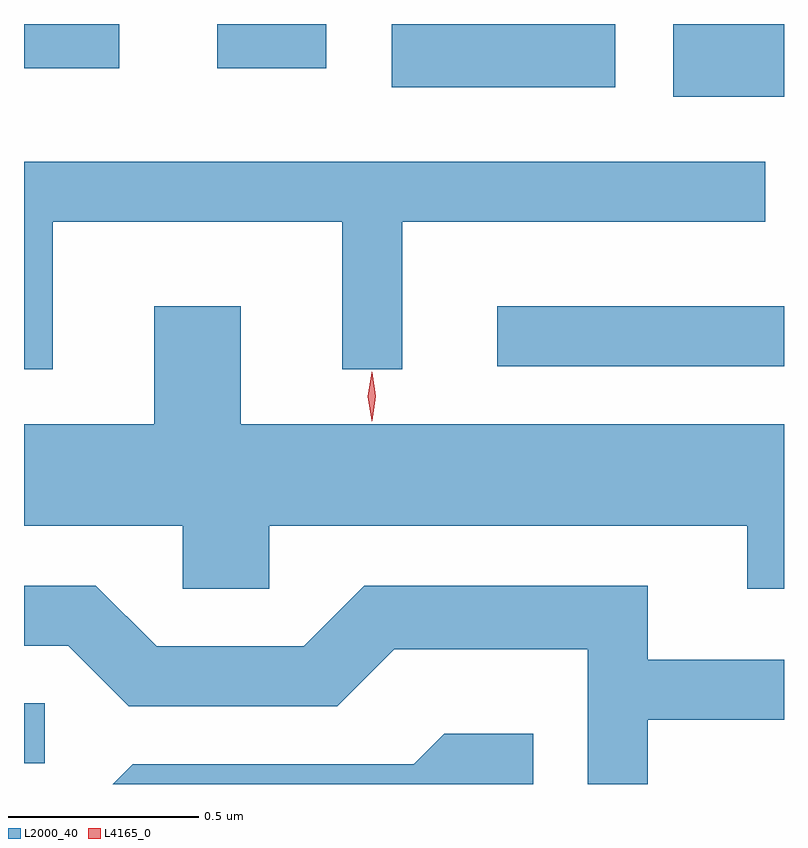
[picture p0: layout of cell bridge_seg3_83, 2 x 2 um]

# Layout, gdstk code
import gdstk
lib = gdstk.Library(unit=1e-6, precision=1e-09)
def R(c, l, rs):  # rectangles x0, y0, x1, y1
    for r in rs: c.add(gdstk.rectangle(r[:2], r[2:], *l))
def P(c, l, *ps):  # polygons
    for p in ps: c.add(gdstk.Polygon(p, *l))
L2000_40 = (2000, 40)
L4165_0 = (4165, 0)

bridge_seg3_83 = lib.new_cell('bridge_seg3_83')
R(bridge_seg3_83, L2000_40, [(1126.748,1180.891,1126.803,1181.049), (1127.993,1181.936,1128.748,1182.094), (1128.456,1182.646,1128.748,1182.837), (1127.716,1182.671,1128.304,1182.837), (1126.748,1182.721,1126.999,1182.837), (1127.256,1182.721,1127.544,1182.837)])
P(bridge_seg3_83, L2000_40, [(1126.824,1182.316),(1127.586,1182.316),(1127.586,1181.928),(1127.744,1181.928),(1127.744,1182.316),(1128.698,1182.316),(1128.698,1182.474),(1126.748,1182.474),(1126.748,1181.928),(1126.824,1181.928)],
  [(1127.394,1181.516),(1128.651,1181.516),(1128.651,1181.351),(1128.748,1181.351),(1128.748,1181.784),(1127.319,1181.784),(1127.319,1182.094),(1127.091,1182.094),(1127.091,1181.784),(1126.748,1181.784),(1126.748,1181.516),(1127.166,1181.516),(1127.166,1181.351),(1127.394,1181.351)],
  [(1128.389,1181.006),(1128.748,1181.006),(1128.748,1181.164),(1128.389,1181.164),(1128.389,1181.359),(1127.644,1181.359),(1127.484,1181.199),(1127.097,1181.199),(1126.937,1181.359),(1126.748,1181.359),(1126.748,1181.201),(1126.864,1181.201),(1127.024,1181.041),(1127.572,1181.041),(1127.722,1181.191),(1128.231,1181.191),(1128.231,1180.837),(1128.389,1180.837)],
  [(1128.088,1180.969),(1127.854,1180.969),(1127.774,1180.889),(1127.034,1180.889),(1126.982,1180.837),(1128.088,1180.837)])
P(bridge_seg3_83, L4165_0, [(1127.663,1181.792),(1127.663,1181.793),(1127.653,1181.857),(1127.663,1181.921),(1127.663,1181.922),(1127.664,1181.921),(1127.673,1181.857),(1127.664,1181.793)])

lib.write_gds('bridge_seg3_83.gds')
